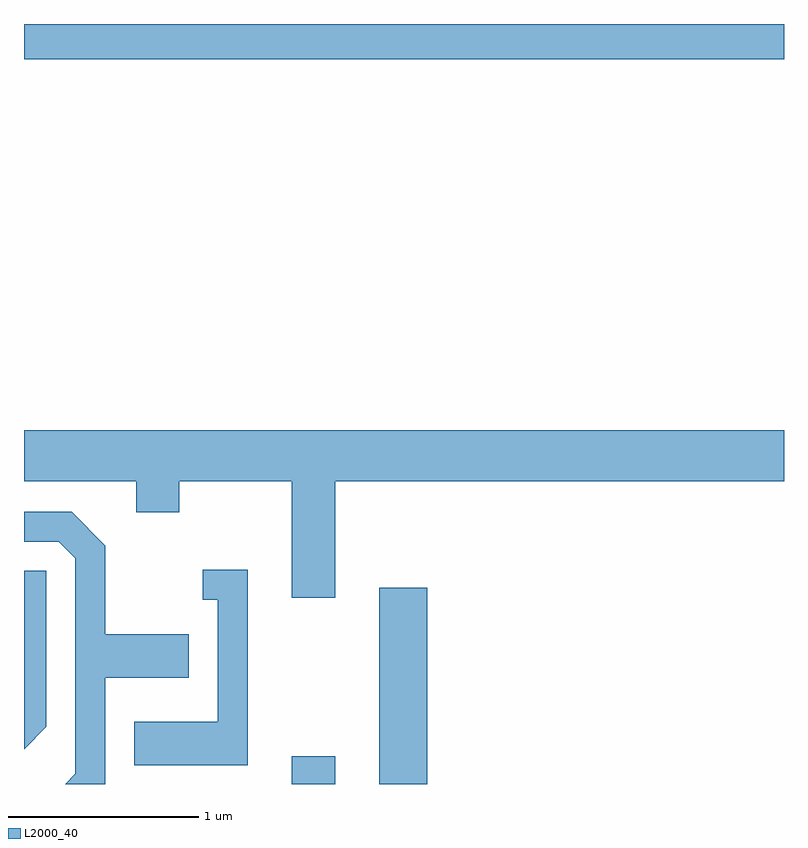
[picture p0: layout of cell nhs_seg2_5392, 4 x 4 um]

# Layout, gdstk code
import gdstk
lib = gdstk.Library(unit=1e-6, precision=1e-09)
def R(c, l, rs):  # rectangles x0, y0, x1, y1
    for r in rs: c.add(gdstk.rectangle(r[:2], r[2:], *l))
def P(c, l, *ps):  # polygons
    for p in ps: c.add(gdstk.Polygon(p, *l))
L2000_40 = (2000, 40)

nhs_seg2_5392 = lib.new_cell('nhs_seg2_5392')
R(nhs_seg2_5392, L2000_40, [(345.021,1077.802,345.249,1077.949), (345.481,1077.802,345.734,1078.834), (343.611,1081.616,347.611,1081.802)])
P(nhs_seg2_5392, L2000_40, [(343.611,1079.396),(344.201,1079.396),(344.201,1079.231),(344.429,1079.231),(344.429,1079.396),(345.021,1079.396),(345.021,1078.781),(345.249,1078.781),(345.249,1079.396),(347.611,1079.396),(347.611,1079.664),(343.611,1079.664)],
  [(344.039,1078.361),(344.479,1078.361),(344.479,1078.589),(344.039,1078.589),(344.039,1079.057),(343.862,1079.234),(343.611,1079.234),(343.611,1079.076),(343.794,1079.076),(343.881,1078.989),(343.881,1077.857),(343.827,1077.802),(344.039,1077.802)],
  [(344.789,1078.929),(344.553,1078.929),(344.553,1078.771),(344.631,1078.771),(344.631,1078.129),(344.191,1078.129),(344.191,1077.901),(344.789,1077.901)],
  [(343.729,1078.104),(343.729,1078.924),(343.611,1078.924),(343.611,1077.985)])

lib.write_gds('nhs_seg2_5392.gds')
